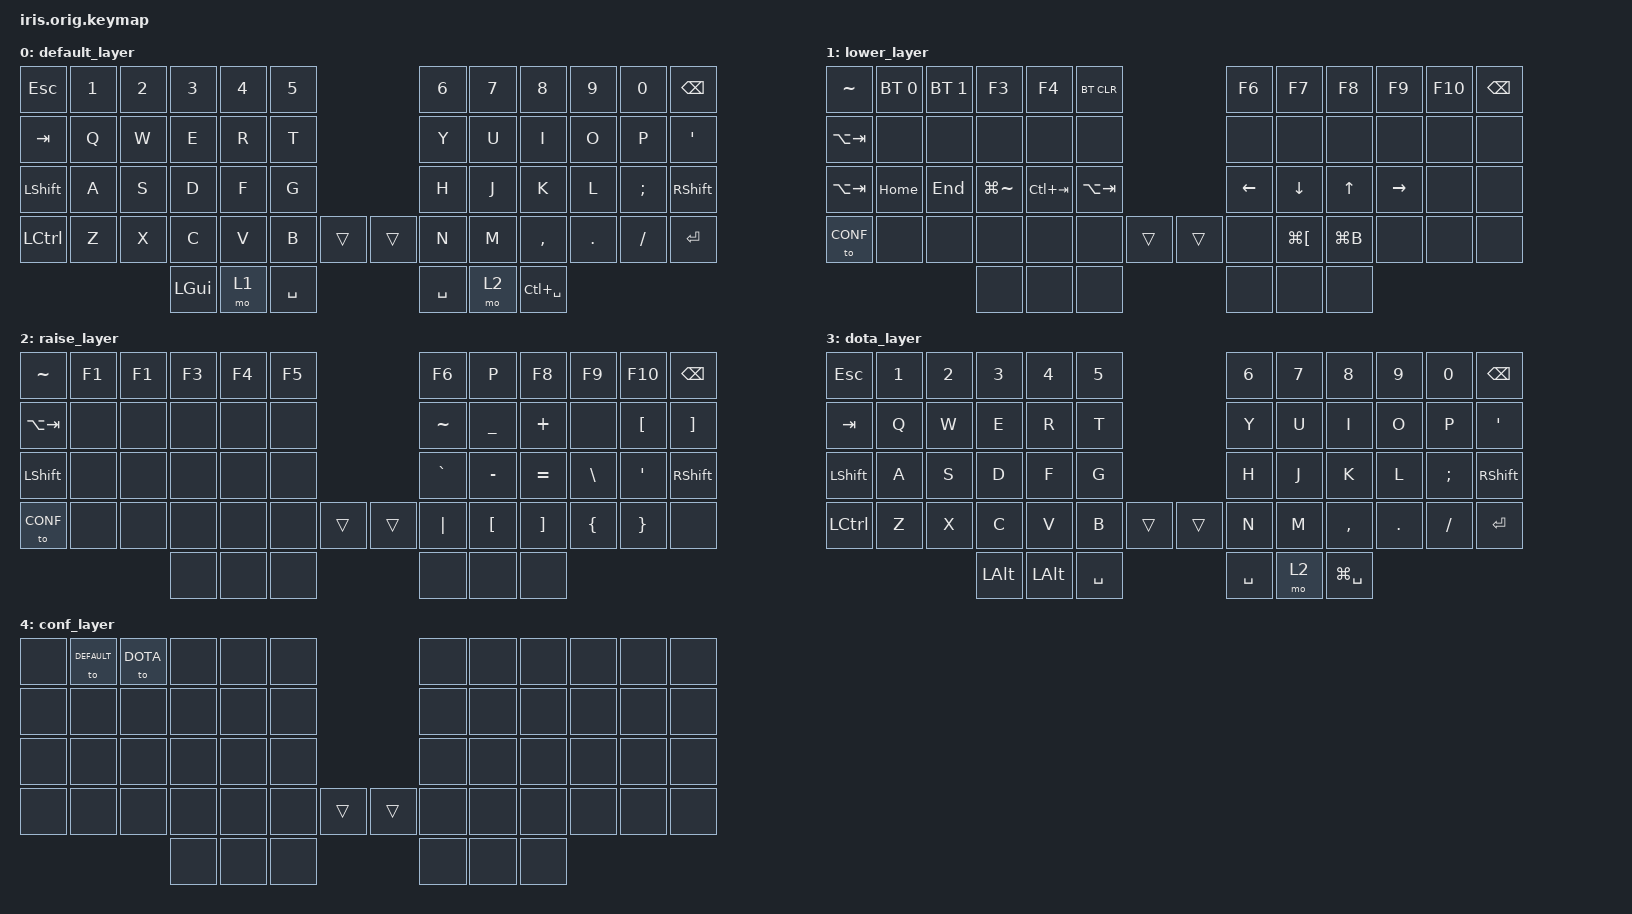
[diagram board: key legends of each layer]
/*
 * Copyright (c) 2020 The ZMK Contributors
 *
 * SPDX-License-Identifier: MIT
 */

#include <behaviors.dtsi>
#include <dt-bindings/zmk/keys.h>
#include <dt-bindings/zmk/bt.h>

#define xxx &none
#define ___ &trans

#define DEFAULT 0
#define LOWER 1
#define RAISE 2
#define DOTA 3
#define CONF 4

/ {
	keymap {
		compatible = "zmk,keymap";

		default_layer {
			bindings = <
// ┌──────────┬──────────┬──────────┬──────────┬──────────┬──────────┐   ┌───────────┬───────────┬───────────┬──────────┬──────────┬──────────┐
     &kp ESC      &kp N1    &kp N2     &kp N3     &kp N4     &kp N5         &kp N6      &kp N7      &kp N8      &kp N9     &kp N0    &kp BSPC
// ├──────────┼──────────┼──────────┼──────────┼──────────┼──────────┤   ├───────────┼───────────┼───────────┼──────────┼──────────┼──────────┤
     &kp TAB      &kp Q     &kp W      &kp E      &kp R      &kp T          &kp Y       &kp U       &kp I       &kp O      &kp P     &kp SQT
// ├──────────┼──────────┼──────────┼──────────┼──────────┼──────────┤   ├───────────┼───────────┼───────────┼──────────┼──────────┼──────────┤
     &kp LSHFT    &kp A     &kp S      &kp D      &kp F      &kp G          &kp H       &kp J       &kp K       &kp L      &kp SEMI  &kp RSHFT
// ├──────────┼──────────┼──────────┼──────────┼──────────┼──────────┤   ├───────────┼───────────┼───────────┼──────────┼──────────┼──────────┤
     &kp LCTRL    &kp Z     &kp X      &kp C      &kp V      &kp B  ___ ___ &kp N       &kp M      &kp COMMA    &kp DOT    &kp FSLH  &kp RET
// └──────────┴──────────┴──────────┼──────────┼──────────┼──────────┤   ├───────────┼───────────┼───────────┼──────────┴──────────┴──────────┘
                   			          &kp LGUI    &mo 1     &kp SPACE      &kp SPACE    &mo 2      &kp LC(SPACE)
//                                  └──────────┴──────────┴──────────┘   └───────────┴──────────┴────────────┘
			>;
		};

		lower_layer {
			bindings = <
// ┌──────────┬──────────┬──────────┬──────────┬──────────┬──────────┐   ┌───────────┬───────────┬───────────┬──────────┬──────────┬──────────┐
    &kp TILDE  &bt BT_SEL 0 &bt BT_SEL 1     &kp F3     &kp F4     &bt BT_CLR         &kp F6      &kp F7      &kp F8      &kp F9     &kp F10    &kp BSPC
// ├──────────┼──────────┼──────────┼──────────┼──────────┼──────────┤   ├───────────┼───────────┼───────────┼──────────┼──────────┼──────────┤
   &kp LA(TAB)   xxx        xxx        xxx        xxx        xxx            xxx         xxx         xxx         xxx        xxx        xxx
// ├──────────┼──────────┼──────────┼──────────┼──────────┼──────────┤   ├───────────┼───────────┼───────────┼──────────┼──────────┼──────────┤
   &kp LA(TAB)   &kp HOME   &kp END    &kp LG(TILDE)  &kp LC(TAB)  &kp LA(TAB)           &kp LEFT    &kp DOWN    &kp UP     &kp RIGHT   xxx        xxx
// ├──────────┼──────────┼──────────┼──────────┼──────────┼──────────┤   ├───────────┼───────────┼───────────┼──────────┼──────────┼──────────┤
   &to  CONF     xxx        xxx        xxx        xxx        xxx    ___ ___ xxx &kp LG(LBKT) &kp LG(B) xxx        xxx        xxx
// └──────────┴──────────┴──────────┼──────────┼──────────┼──────────┤   ├───────────┼───────────┼───────────┼──────────┴──────────┴──────────┘
                                       xxx        xxx        xxx            xxx         xxx         xxx
//                                  └──────────┴──────────┴──────────┘   └───────────┴───────────┴───────────┘
			>;
		};

		raise_layer {
			bindings = <
// ┌──────────┬──────────┬──────────┬──────────┬──────────┬──────────┐   ┌───────────┬───────────┬───────────┬──────────┬──────────┬──────────┐
    &kp TILDE    &kp F1     &kp F1     &kp F3     &kp F4     &kp F5         &kp F6      &kp P      &kp F8      &kp F9     &kp F10    &kp BSPC
// ├──────────┼──────────┼──────────┼──────────┼──────────┼──────────┤   ├───────────┼───────────┼───────────┼──────────┼──────────┼──────────┤
   &kp LA(TAB)   xxx        xxx        xxx        xxx        xxx            &kp TILDE  &kp UNDER    &kp PLUS    xxx        &kp LBKT   &kp RBKT
// ├──────────┼──────────┼──────────┼──────────┼──────────┼──────────┤   ├───────────┼───────────┼───────────┼──────────┼──────────┼──────────┤
   &kp LSHFT     xxx        xxx        xxx        xxx        xxx            &kp GRAVE  &kp MINUS   &kp EQUAL   &kp BSLH    &kp SQT    &kp RSHFT
// ├──────────┼──────────┼──────────┼──────────┼──────────┼──────────┤   ├───────────┼───────────┼───────────┼──────────┼──────────┼──────────┤
   &to  CONF     xxx        xxx        xxx        xxx        xxx    ___ ___ &kp PIPE   &kp LBKT    &kp RBKT    &kp LBRC    &kp RBRC   xxx
// └──────────┴──────────┴──────────┼──────────┼──────────┼──────────┤   ├───────────┼───────────┼───────────┼──────────┴──────────┴──────────┘
                                       xxx        xxx        xxx            xxx         xxx         xxx
//                                  └──────────┴──────────┴──────────┘   └───────────┴───────────┴───────────┘
			>;
		};

		dota_layer {
			bindings = <
// ┌──────────┬──────────┬──────────┬──────────┬──────────┬──────────┐   ┌───────────┬───────────┬───────────┬──────────┬──────────┬──────────┐
     &kp ESC      &kp N1    &kp N2     &kp N3     &kp N4     &kp N5         &kp N6      &kp N7      &kp N8      &kp N9     &kp N0    &kp BSPC
// ├──────────┼──────────┼──────────┼──────────┼──────────┼──────────┤   ├───────────┼───────────┼───────────┼──────────┼──────────┼──────────┤
     &kp TAB      &kp Q     &kp W      &kp E      &kp R      &kp T          &kp Y       &kp U       &kp I       &kp O      &kp P     &kp SQT
// ├──────────┼──────────┼──────────┼──────────┼──────────┼──────────┤   ├───────────┼───────────┼───────────┼──────────┼──────────┼──────────┤
     &kp LSHFT    &kp A     &kp S      &kp D      &kp F      &kp G          &kp H       &kp J       &kp K       &kp L      &kp SEMI  &kp RSHFT
// ├──────────┼──────────┼──────────┼──────────┼──────────┼──────────┤   ├───────────┼───────────┼───────────┼──────────┼──────────┼──────────┤
     &kp LCTRL    &kp Z     &kp X      &kp C      &kp V      &kp B  ___ ___ &kp N       &kp M       &kp COMMA    &kp DOT    &kp FSLH  &kp RET
// └──────────┴──────────┴──────────┼──────────┼──────────┼──────────┤   ├───────────┼───────────┼───────────┼──────────┴──────────┴──────────┘
                   			          &kp LALT    &kp LALT   &kp SPACE      &kp SPACE    &mo 2      &kp LG(SPACE)
//                                  └──────────┴──────────┴──────────┘   └───────────┴──────────┴────────────┘
			>;
		};


		conf_layer {
			bindings = <
// ┌──────────┬──────────┬──────────┬──────────┬──────────┬──────────┐   ┌───────────┬───────────┬───────────┬──────────┬──────────┬──────────┐
     xxx       &to DEFAULT  &to DOTA   xxx        xxx        xxx            xxx         xxx         xxx         xxx        xxx        xxx
// ├──────────┼──────────┼──────────┼──────────┼──────────┼──────────┤   ├───────────┼───────────┼───────────┼──────────┼──────────┼──────────┤
     xxx         xxx        xxx        xxx        xxx        xxx            xxx         xxx         xxx         xxx        xxx        xxx
// ├──────────┼──────────┼──────────┼──────────┼──────────┼──────────┤   ├───────────┼───────────┼───────────┼──────────┼──────────┼──────────┤
     xxx         xxx        xxx        xxx        xxx        xxx            xxx         xxx         xxx         xxx        xxx        xxx
// ├──────────┼──────────┼──────────┼──────────┼──────────┼──────────┤   ├───────────┼───────────┼───────────┼──────────┼──────────┼──────────┤
     xxx         xxx        xxx        xxx        xxx        xxx    ___ ___ xxx         xxx         xxx         xxx        xxx        xxx
// └──────────┴──────────┴──────────┼──────────┼──────────┼──────────┤   ├───────────┼───────────┼───────────┼──────────┴──────────┴──────────┘
                                       xxx        xxx        xxx            xxx         xxx         xxx
//                                  └──────────┴──────────┴──────────┘   └───────────┴───────────┴───────────┘
			>;
		};


	}; };
